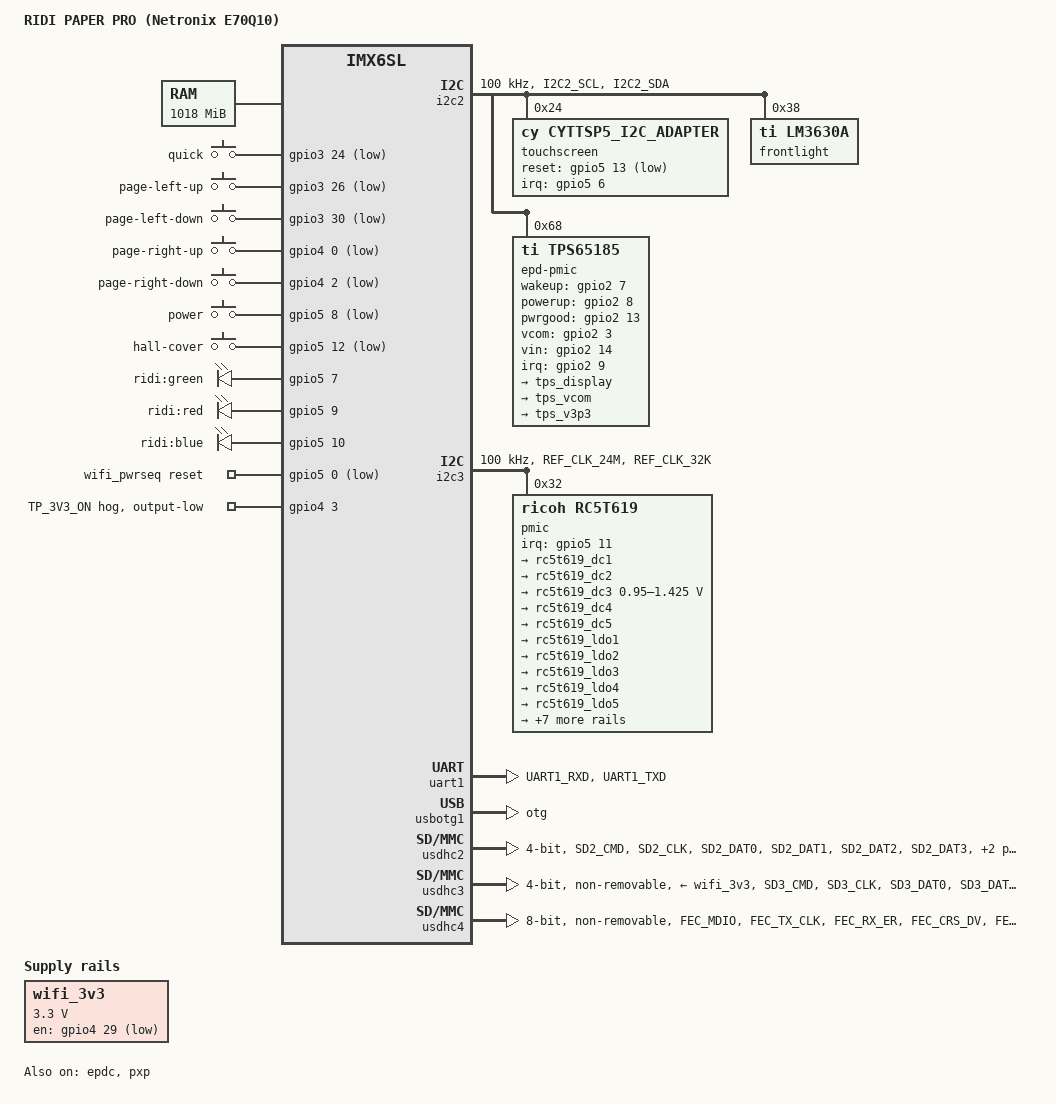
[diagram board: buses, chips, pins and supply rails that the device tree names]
/*
 * RIDI PAPER PRO / Netronix E70Q10
 *
 * Initial device tree reconstructed from the running 3.0.35 kernel, stock
 * hwcfg and the published Tolino Epos Netronix board-file source.  Drivers
 * marked "needs-port" are intentionally described here even though their
 * Tolino 3.0 implementations still need forward-porting to this 4.9 tree.
 */
/dts-v1/;

#include <dt-bindings/gpio/gpio.h>
#include <dt-bindings/input/input.h>
#include "imx6sl.dtsi"

/ {
	model = "RIDI PAPER PRO (Netronix E70Q10)";
	compatible = "ridi,e70q10", "netronix,e70q10", "fsl,imx6sl";

	aliases {
		mmc0 = &usdhc4; /* internal eMMC */
		mmc1 = &usdhc2; /* external microSD */
		mmc2 = &usdhc3; /* RTL8189FS SDIO */
	};

	chosen {
		stdout-path = &uart1;
	};

	/* Stock U-Boot reserves the top 6 MiB for hwcfg/waveform/logo/ntxfw. */
	memory {
		device_type = "memory";
		reg = <0x80000000 0x3fa00000>;
	};

	gpio-keys {
		compatible = "gpio-keys";
		pinctrl-names = "default";
		pinctrl-0 = <&pinctrl_keys>;

		quick {
			/*
			 * Stock exposes the right-side quick button as
			 * GPIO3_IO24 ("btn TP_ON") and reports KEY_F1 (59).
			 * Keep the kernel ABI identical; Android maps KEY_F1
			 * to BACK in imx-keypad.kl.
			 */
			label = "quick";
			gpios = <&gpio3 24 GPIO_ACTIVE_LOW>;
			linux,code = <KEY_F1>;
			debounce-interval = <20>;
			wakeup-source;
		};

		page-left-up {
			label = "page-left-up";
			gpios = <&gpio3 26 GPIO_ACTIVE_LOW>;
			linux,code = <KEY_PAGEUP>;
			debounce-interval = <20>;
			wakeup-source;
		};

		page-left-down {
			label = "page-left-down";
			gpios = <&gpio3 30 GPIO_ACTIVE_LOW>;
			linux,code = <KEY_PAGEDOWN>;
			debounce-interval = <20>;
			wakeup-source;
		};

		page-right-up {
			label = "page-right-up";
			gpios = <&gpio4 0 GPIO_ACTIVE_LOW>;
			linux,code = <KEY_PAGEUP>;
			debounce-interval = <20>;
			wakeup-source;
		};

		page-right-down {
			label = "page-right-down";
			gpios = <&gpio4 2 GPIO_ACTIVE_LOW>;
			linux,code = <KEY_PAGEDOWN>;
			debounce-interval = <20>;
			wakeup-source;
		};

		power {
			label = "power";
			gpios = <&gpio5 8 GPIO_ACTIVE_LOW>;
			linux,code = <KEY_POWER>;
			debounce-interval = <20>;
			wakeup-source;
		};

		hall {
			label = "hall-cover";
			gpios = <&gpio5 12 GPIO_ACTIVE_LOW>;
			linux,input-type = <EV_SW>;
			linux,code = <SW_LID>;
			debounce-interval = <50>;
			wakeup-source;
		};
	};

	/* Stock GPIO dump: green=135, red=137, blue=138. Match stock's
	 * low-to-light / input-to-extinguish drive with open-drain GPIOs.
	 * The LED pad state below supplies a pull-up, not a keeper: otherwise
	 * an OFF input can retain LOW and leave the LED faintly illuminated.
	 * Preserve the boot indication until BatteryService takes ownership.
	 */
	ridi-status-leds {
		compatible = "gpio-leds";
		pinctrl-names = "default";
		pinctrl-0 = <&pinctrl_status_leds>;

		green {
			label = "ridi:green";
			gpios = <&gpio5 7 GPIO_OPEN_DRAIN>;
			default-state = "keep";
			retain-state-suspended;
		};
		red {
			label = "ridi:red";
			gpios = <&gpio5 9 GPIO_OPEN_DRAIN>;
			default-state = "keep";
			retain-state-suspended;
		};
		blue {
			label = "ridi:blue";
			gpios = <&gpio5 10 GPIO_OPEN_DRAIN>;
			default-state = "keep";
			retain-state-suspended;
		};
	};

	wifi_pwrseq: wifi-pwrseq {
		compatible = "mmc-pwrseq-simple";
		pinctrl-names = "default";
		pinctrl-0 = <&pinctrl_wifi_ctrl>;
		reset-gpios = <&gpio5 0 GPIO_ACTIVE_LOW>;
		post-power-on-delay-ms = <200>;
	};

	wifi_3v3: regulator-wifi-3v3 {
		compatible = "regulator-fixed";
		regulator-name = "wifi-3v3";
		regulator-min-microvolt = <3300000>;
		regulator-max-microvolt = <3300000>;
		/* Stock E70Q10 MX6SL_WIFI_3V3 is GPIO4_29, active low. */
		gpio = <&gpio4 29 GPIO_ACTIVE_LOW>;
		startup-delay-us = <100000>;
	};
};

/* Stock E70Q10 configures the i.MX6SL EPDC QOSC master at probe. */
&aips1 {
	qosc: qosc@2094000 {
		compatible = "fsl,imx6sl-qosc";
		reg = <0x02094000 0x4000>;
	};
};

&epdc {
	pinctrl-names = "default";
	pinctrl-0 = <&pinctrl_epdc>;
	fsl,qosc = <&qosc>;
	V3P3-supply = <&tps_v3p3>;
	VCOM-supply = <&tps_vcom>;
	DISPLAY-supply = <&tps_display>;
	status = "okay";
};

&i2c2 {
	/* 75 kHz is the reliable command-transition rate on this controller. */
	/* Netronix mx6sl board data and the working stock kernel use 100 kHz. */
	clock-frequency = <100000>;
	/* Match stock: physically gate the controller after every transfer. */
	fsl,stock-transfer-clock-gating;
	pinctrl-names = "default";
	pinctrl-0 = <&pinctrl_i2c2>;
	status = "okay";

	touchscreen@24 {
		compatible = "cy,cyttsp5_i2c_adapter";
		reg = <0x24>;
		pinctrl-names = "default";
		pinctrl-0 = <&pinctrl_touch>;
		interrupt-parent = <&gpio5>;
		interrupts = <6 IRQ_TYPE_LEVEL_LOW>;
		reset-gpios = <&gpio5 13 GPIO_ACTIVE_LOW>;

		cyttsp5_core {
			name = "cyttsp5_core";
			cy,irq_gpio = <134>;
			cy,rst_gpio = <141>;
			cy,hid_desc_register = <1>;
			cy,level_irq_udelay = <10>;
			cy,flags = <4>;

			cy,mt {
				name = "cy,mt";
				cy,inp_dev_name = "cyttsp5_mt";
				/*
				 * Android now exposes the panel in its natural portrait
				 * orientation (1404x1872, rotation 0).  Stock landscape input
				 * used INV_X | INV_Y to compensate for the sensor mounting.
				 * Composing that correction with the framebuffer's CCW rotation
				 * gives portrait X = raw Y, Y = 1871 - raw X.
				 *
				 * CY_MT_FLAG_FLIP | CY_MT_FLAG_INV_Y
				 */
				cy,flags = <0x28>;
				cy,abs = <
					0x35 0 1871 0 0
					0x36 0 1403 0 0
					0x3a 0 255 0 0
					0xffffffff 0 255 0 0
					0x39 0 15 0 0
					0x30 0 255 0 0
					0x31 0 255 0 0
					0x34 0xffffffff 1 0 0
					0x37 0 1 0 0
					0x3b 0 255 0 0
				>;
			};
		};
	};

	frontlight@38 {
		compatible = "ti,lm3630a";
		reg = <0x38>;
		/* Stock E70Q10 safe full-scale current settings. */
		ridi,current-a = /bits/ 8 <4>;
		ridi,current-b = /bits/ 8 <7>;
	};

	epd-pmic@68 {
		compatible = "ti,tps65185";
		reg = <0x68>;
		pinctrl-names = "default";
		pinctrl-0 = <&pinctrl_epd_pmic>;
		interrupt-parent = <&gpio2>;
		interrupts = <9 IRQ_TYPE_EDGE_FALLING>;
		wakeup-gpios = <&gpio2 7 GPIO_ACTIVE_HIGH>;
		powerup-gpios = <&gpio2 8 GPIO_ACTIVE_HIGH>;
		pwrgood-gpios = <&gpio2 13 GPIO_ACTIVE_HIGH>;
		vcom-gpios = <&gpio2 3 GPIO_ACTIVE_HIGH>;
		vin-gpios = <&gpio2 14 GPIO_ACTIVE_HIGH>;
		ridi,vcom-negative-microvolt = <1560000>;

		regulators {
			tps_display: DISPLAY {
				regulator-name = "DISPLAY";
			};

			tps_vcom: VCOM {
				regulator-name = "VCOM";
			};

			tps_v3p3: V3P3 {
				regulator-name = "V3P3";
			};
		};
	};
};

&i2c3 {
	clock-frequency = <100000>;
	pinctrl-names = "default";
	pinctrl-0 = <&pinctrl_i2c3>;
	status = "okay";

	pmic@32 {
		compatible = "ricoh,rc5t619";
		wakeup-source;
		ricoh,charger-wakeup;
		ricoh,ridi-stock-battery;
		reg = <0x32>;
		system-power-controller;
		pinctrl-names = "default";
		pinctrl-0 = <&pinctrl_ricoh_irq>;
		interrupt-parent = <&gpio5>;
		interrupts = <11 IRQ_TYPE_LEVEL_LOW>;
		regulators {
			rc5t619_dc1: DCDC1 {
				regulator-name = "RC5T619_DC1";
				regulator-boot-on;
				regulator-always-on;
			};
			rc5t619_dc2: DCDC2 {
				regulator-name = "RC5T619_DC2";
				regulator-boot-on;
				regulator-always-on;
			};
			rc5t619_dc3: DCDC3 {
				regulator-name = "RC5T619_DC3";
				regulator-min-microvolt = <950000>;
				regulator-max-microvolt = <1425000>;
				regulator-boot-on;
				regulator-always-on;
			};
			rc5t619_dc4: DCDC4 {
				regulator-name = "RC5T619_DC4";
				regulator-boot-on;
				regulator-always-on;
			};
			rc5t619_dc5: DCDC5 {
				regulator-name = "RC5T619_DC5";
				regulator-boot-on;
				regulator-always-on;
			};
			rc5t619_ldo1: LDO1 {
				regulator-name = "RC5T619_LDO1";
				regulator-boot-on;
				regulator-always-on;
			};
			rc5t619_ldo2: LDO2 {
				regulator-name = "RC5T619_LDO2";
				regulator-boot-on;
				regulator-always-on;
			};
			rc5t619_ldo3: LDO3 {
				regulator-name = "RC5T619_LDO3";
				regulator-boot-on;
				regulator-always-on;
			};
			rc5t619_ldo4: LDO4 { regulator-name = "RC5T619_LDO4"; };
			rc5t619_ldo5: LDO5 {
				regulator-name = "RC5T619_LDO5";
				regulator-boot-on;
				regulator-always-on;
			};
			rc5t619_ldo6: LDO6 {
				regulator-name = "RC5T619_LDO6";
				regulator-boot-on;
				regulator-always-on;
			};
			rc5t619_ldo7: LDO7 { regulator-name = "RC5T619_LDO7"; };
			rc5t619_ldo8: LDO8 { regulator-name = "RC5T619_LDO8"; };
			rc5t619_ldo9: LDO9 { regulator-name = "RC5T619_LDO9"; };
			rc5t619_ldo10: LDO10 { regulator-name = "RC5T619_LDO10"; };
			LDORTC1 {
				regulator-name = "RC5T619_LDORTC1";
				regulator-boot-on;
				regulator-always-on;
			};
			LDORTC2 { regulator-name = "RC5T619_LDORTC2"; };
		};
	};
};

/* External inputs documented by the Tolino Epos RC5T619 board file. */
&reg_arm {
	vin-supply = <&rc5t619_dc3>;
};

&reg_soc {
	vin-supply = <&rc5t619_dc1>;
};

&reg_pu {
	vin-supply = <&rc5t619_dc1>;
};

/*
 * Stock E70Q10 exposes this as "TP_3V3_ON" and holds it physically low.
 * The published Netronix mx6sl board file does the same for keypad type 23.
 */
&gpio4 {
	touch-power-hog {
		gpio-hog;
		gpios = <3 GPIO_ACTIVE_HIGH>;
		output-low;
		line-name = "TP_3V3_ON";
	};
};

&iomuxc {
	pinctrl-names = "default";
	pinctrl-0 = <&pinctrl_hog>;

	imx6sl-e70q10 {
		pinctrl_status_leds: statusledsgrp {
			fsl,pins = <
				MX6SL_PAD_SD1_DAT6__GPIO5_IO07 0x1b0b1
				MX6SL_PAD_SD1_DAT5__GPIO5_IO09 0x1b0b1
				MX6SL_PAD_SD1_DAT7__GPIO5_IO10 0x1b0b1
			>;
		};

		pinctrl_hog: hoggrp {
			fsl,pins = <
				/*
				 * Netronix uses NO_PAD_CTRL here.  Preserve the
				 * bootloader electrical setting and only select GPIO.
				 */
				MX6SL_PAD_KEY_ROW5__GPIO4_IO03 0x80000000
			>;
		};

		pinctrl_uart1: uart1grp {
			fsl,pins = <
				MX6SL_PAD_UART1_RXD__UART1_RX_DATA 0x1b0b1
				MX6SL_PAD_UART1_TXD__UART1_TX_DATA 0x1b0b1
			>;
		};

		pinctrl_i2c2: i2c2grp {
			fsl,pins = <
				/* Stock E70Q10: SION + 22K pull-up, 0x1f8b1. */
				MX6SL_PAD_I2C2_SCL__I2C2_SCL 0x4001f8b1
				MX6SL_PAD_I2C2_SDA__I2C2_SDA 0x4001f8b1
			>;
		};

		pinctrl_i2c3: i2c3grp {
			fsl,pins = <
				MX6SL_PAD_REF_CLK_24M__I2C3_SCL 0x4001b8b1
				MX6SL_PAD_REF_CLK_32K__I2C3_SDA 0x4001b8b1
			>;
		};

		pinctrl_touch: touchgrp {
			fsl,pins = <
				/* Match Netronix MX6SL_UART_PAD_CTRL exactly. */
				MX6SL_PAD_SD1_DAT3__GPIO5_IO06 0x1b0b1
				MX6SL_PAD_SD1_DAT2__GPIO5_IO13 0x1b0b1
			>;
		};

		pinctrl_ricoh_irq: ricohirqgrp {
			fsl,pins = <
				MX6SL_PAD_SD1_DAT0__GPIO5_IO11 0x1b0b0
			>;
		};

		pinctrl_wifi_ctrl: wifictrlgrp {
			fsl,pins = <
				MX6SL_PAD_SD2_DAT6__GPIO4_IO29 0x17059
				MX6SL_PAD_SD2_DAT7__GPIO5_IO00 0x17059
				MX6SL_PAD_SD2_DAT5__GPIO4_IO31 0x1b0b0
			>;
		};

		pinctrl_keys: keysgrp {
			fsl,pins = <
				MX6SL_PAD_KEY_COL0__GPIO3_IO24 0x1b0b0
				MX6SL_PAD_KEY_COL1__GPIO3_IO26 0x1b0b0
				MX6SL_PAD_KEY_COL3__GPIO3_IO30 0x1b0b0
				MX6SL_PAD_KEY_COL4__GPIO4_IO00 0x1b0b0
				MX6SL_PAD_KEY_COL5__GPIO4_IO02 0x1b0b0
				MX6SL_PAD_SD1_DAT1__GPIO5_IO08 0x1b0b0
				MX6SL_PAD_SD1_DAT4__GPIO5_IO12 0x1b0b0
			>;
		};

		pinctrl_epd_pmic: epdpmicgrp {
			fsl,pins = <
				MX6SL_PAD_EPDC_VCOM0__GPIO2_IO03 0x17059
				MX6SL_PAD_EPDC_PWRCTRL0__GPIO2_IO07 0x17059
				MX6SL_PAD_EPDC_PWRCTRL1__GPIO2_IO08 0x17059
				MX6SL_PAD_EPDC_PWRCTRL2__GPIO2_IO09 0x1b0b0
				MX6SL_PAD_EPDC_PWRSTAT__GPIO2_IO13 0x1b0b0
				MX6SL_PAD_EPDC_PWRWAKEUP__GPIO2_IO14 0x17059
			>;
		};

		pinctrl_epdc: epdcgrp {
			fsl,pins = <
				/* Exact MX6SL_EPDC_PAD_CTRL from the Netronix 3.0 tree:
				 * HYS | PKE | SPEED_MED | DSE_40ohm.  E70Q10 hwcfg has
				 * EPD_LV=0, so the LVE bit must remain clear.
				 */
				MX6SL_PAD_EPDC_D0__EPDC_DATA00 0x110b0
				MX6SL_PAD_EPDC_D1__EPDC_DATA01 0x110b0
				MX6SL_PAD_EPDC_D2__EPDC_DATA02 0x110b0
				MX6SL_PAD_EPDC_D3__EPDC_DATA03 0x110b0
				MX6SL_PAD_EPDC_D4__EPDC_DATA04 0x110b0
				MX6SL_PAD_EPDC_D5__EPDC_DATA05 0x110b0
				MX6SL_PAD_EPDC_D6__EPDC_DATA06 0x110b0
				MX6SL_PAD_EPDC_D7__EPDC_DATA07 0x110b0
				MX6SL_PAD_EPDC_D8__EPDC_DATA08 0x110b0
				MX6SL_PAD_EPDC_D9__EPDC_DATA09 0x110b0
				MX6SL_PAD_EPDC_D10__EPDC_DATA10 0x110b0
				MX6SL_PAD_EPDC_D11__EPDC_DATA11 0x110b0
				MX6SL_PAD_EPDC_D12__EPDC_DATA12 0x110b0
				MX6SL_PAD_EPDC_D13__EPDC_DATA13 0x110b0
				MX6SL_PAD_EPDC_D14__EPDC_DATA14 0x110b0
				MX6SL_PAD_EPDC_D15__EPDC_DATA15 0x110b0
				MX6SL_PAD_EPDC_GDCLK__EPDC_GDCLK 0x110b0
				MX6SL_PAD_EPDC_GDSP__EPDC_GDSP 0x110b0
				MX6SL_PAD_EPDC_GDOE__EPDC_GDOE 0x110b0
				MX6SL_PAD_EPDC_GDRL__EPDC_GDRL 0x110b0
				MX6SL_PAD_EPDC_SDCLK__EPDC_SDCLK_P 0x110b0
				MX6SL_PAD_EPDC_SDOE__EPDC_SDOE 0x110b0
				MX6SL_PAD_EPDC_SDLE__EPDC_SDLE 0x110b0
				MX6SL_PAD_EPDC_SDSHR__EPDC_SDSHR 0x110b0
				MX6SL_PAD_EPDC_BDR0__EPDC_BDR0 0x110b0
				MX6SL_PAD_EPDC_SDCE0__EPDC_SDCE0 0x110b0
				MX6SL_PAD_EPDC_SDCE1__EPDC_SDCE1 0x110b0
			>;
		};

		pinctrl_usdhc2: usdhc2grp {
			fsl,pins = <
				MX6SL_PAD_SD2_CMD__SD2_CMD 0x17059
				MX6SL_PAD_SD2_CLK__SD2_CLK 0x10059
				MX6SL_PAD_SD2_DAT0__SD2_DATA0 0x17059
				MX6SL_PAD_SD2_DAT1__SD2_DATA1 0x17059
				MX6SL_PAD_SD2_DAT2__SD2_DATA2 0x17059
				MX6SL_PAD_SD2_DAT3__SD2_DATA3 0x17059
				MX6SL_PAD_SD2_DAT4__GPIO5_IO02 0x1b0b0
			>;
		};

		pinctrl_usdhc3: usdhc3grp {
			fsl,pins = <
				MX6SL_PAD_SD3_CMD__SD3_CMD 0x17059
				MX6SL_PAD_SD3_CLK__SD3_CLK 0x10059
				MX6SL_PAD_SD3_DAT0__SD3_DATA0 0x17059
				MX6SL_PAD_SD3_DAT1__SD3_DATA1 0x17059
				MX6SL_PAD_SD3_DAT2__SD3_DATA2 0x17059
				MX6SL_PAD_SD3_DAT3__SD3_DATA3 0x17059
			>;
		};

		pinctrl_usdhc4: usdhc4grp {
			fsl,pins = <
				MX6SL_PAD_FEC_MDIO__SD4_CLK 0x10059
				MX6SL_PAD_FEC_TX_CLK__SD4_CMD 0x17059
				MX6SL_PAD_FEC_RX_ER__SD4_DATA0 0x17059
				MX6SL_PAD_FEC_CRS_DV__SD4_DATA1 0x17059
				MX6SL_PAD_FEC_RXD1__SD4_DATA2 0x17059
				MX6SL_PAD_FEC_TXD0__SD4_DATA3 0x17059
				MX6SL_PAD_FEC_MDC__SD4_DATA4 0x17059
				MX6SL_PAD_FEC_RXD0__SD4_DATA5 0x17059
				MX6SL_PAD_FEC_TX_EN__SD4_DATA6 0x17059
				MX6SL_PAD_FEC_TXD1__SD4_DATA7 0x17059
			>;
		};
	};
};

&pxp {
	status = "okay";
};

/* This board's stock poweroff uses RC5T619, not SNVS PMIC_ON_REQ. */
&snvs_poweroff {
	status = "disabled";
};

&uart1 {
	pinctrl-names = "default";
	pinctrl-0 = <&pinctrl_uart1>;
	status = "okay";
};

&usbotg1 {
	dr_mode = "otg";
	disable-over-current;
	status = "okay";
};

&usdhc2 {
	pinctrl-names = "default";
	pinctrl-0 = <&pinctrl_usdhc2>;
	bus-width = <4>;
	cd-gpios = <&gpio5 2 GPIO_ACTIVE_LOW>;
	no-1-8-v;
	status = "okay";
};

&usdhc3 {
	pinctrl-names = "default";
	pinctrl-0 = <&pinctrl_usdhc3>;
	bus-width = <4>;
	max-frequency = <50000000>;
	non-removable;
	no-1-8-v;
	keep-power-in-suspend;
	enable-sdio-wakeup;
	mmc-pwrseq = <&wifi_pwrseq>;
	vmmc-supply = <&wifi_3v3>;
	status = "okay";
};

&usdhc4 {
	pinctrl-names = "default";
	pinctrl-0 = <&pinctrl_usdhc4>;
	bus-width = <8>;
	non-removable;
	no-1-8-v;
	status = "okay";
};
